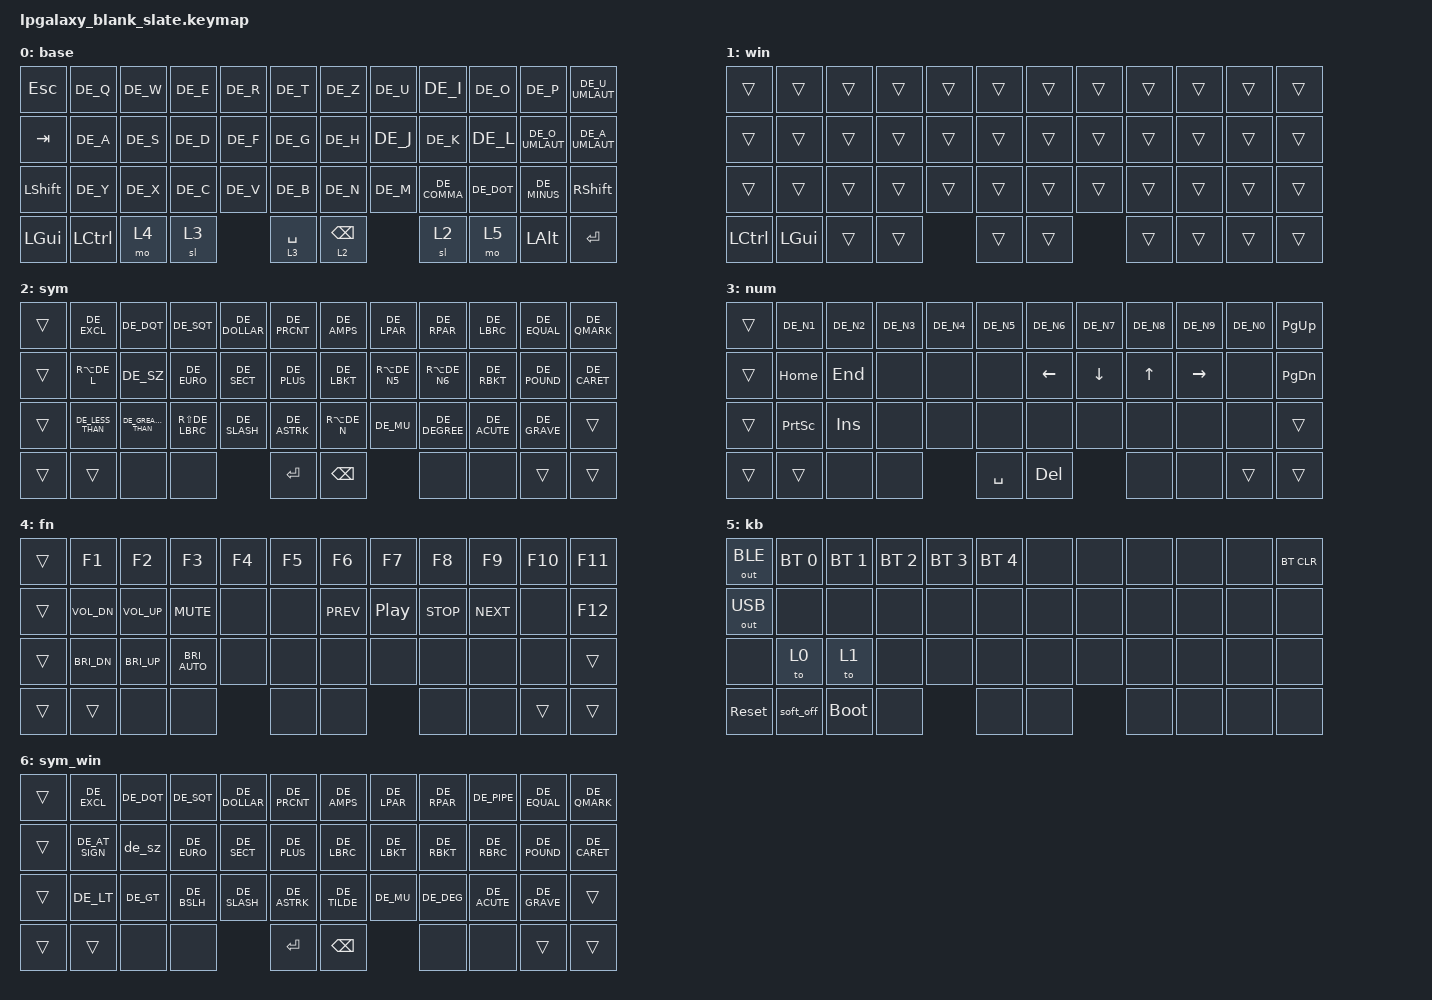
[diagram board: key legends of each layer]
#include "keys_de.h"
#include <behaviors.dtsi>
#include <dt-bindings/zmk/bt.h>
#include <dt-bindings/zmk/keys.h>
#include <dt-bindings/zmk/outputs.h>

/ {
    chosen { zmk,matrix_transform = &dual_2u_transform; };

    behaviors {
        de_sz: de_sz {
            compatible = "zmk,behavior-mod-morph";
            label = "DE_SZ";
            bindings = <&kp DE_SZ>, <&kp DE_CAPITAL_SZ>;

            #binding-cells = <0>;
            mods = <(MOD_LSFT|MOD_RSFT)>;
        };

        mlt: m_layer_tap {
            compatible = "zmk,behavior-hold-tap";
            label = "M_LAYER_TAP";
            bindings = <&mo>, <&kp>;

            #binding-cells = <2>;
            tapping-term-ms = <200>;
            quick-tap-ms = <200>;
            flavor = "balanced";
            retro-tap;
            require-prior-idle-ms = <75>;
        };
    };

    combos {
        compatible = "zmk,combos";

        caps_lock {
            bindings = <&kp CAPSLOCK>;
            key-positions = <24 35>;
        };

        quick_enter {
            bindings = <&kp ENTER>;
            key-positions = <41 40>;
        };
    };

    keymap {
        compatible = "zmk,keymap";

        layer_base {
            label = "base";
            bindings = <
&kp ESC    &kp DE_Q   &kp DE_W  &kp DE_E  &kp DE_R  &kp DE_T      &kp DE_Z          &kp DE_U  &kp DE_I      &kp DE_O    &kp DE_P         &kp DE_U_UMLAUT
&kp TAB    &kp DE_A   &kp DE_S  &kp DE_D  &kp DE_F  &kp DE_G      &kp DE_H          &kp DE_J  &kp DE_K      &kp DE_L    &kp DE_O_UMLAUT  &kp DE_A_UMLAUT
&kp LSHFT  &kp DE_Y   &kp DE_X  &kp DE_C  &kp DE_V  &kp DE_B      &kp DE_N          &kp DE_M  &kp DE_COMMA  &kp DE_DOT  &kp DE_MINUS     &kp RSHIFT
&kp LGUI   &kp LCTRL  &mo 4     &sl 3               &mlt 3 SPACE  &mlt 2 BACKSPACE            &sl 2         &mo 5       &kp LALT         &kp ENTER
            >;
        };

        layer_win {
            bindings = <
&trans            &trans        &trans  &trans  &trans  &trans  &trans  &trans  &trans  &trans  &trans  &trans
&trans            &trans        &trans  &trans  &trans  &trans  &trans  &trans  &trans  &trans  &trans  &trans
&trans            &trans        &trans  &trans  &trans  &trans  &trans  &trans  &trans  &trans  &trans  &trans
&kp LEFT_CONTROL  &kp LEFT_GUI  &trans  &trans          &trans  &trans          &trans  &trans  &trans  &trans
            >;

            label = "win";
        };

        layer_sym {
            label = "sym";
            bindings = <
&trans  &kp DE_EXCL       &kp DE_DQT           &kp DE_SQT       &kp DE_DOLLAR  &kp DE_PRCNT  &kp DE_AMPS    &kp DE_LPAR    &kp DE_RPAR    &kp DE_LBRC   &kp DE_EQUAL  &kp DE_QMARK
&trans  &kp RA(DE_L)      &kp DE_SZ            &kp DE_EURO      &kp DE_SECT    &kp DE_PLUS   &kp DE_LBKT    &kp RA(DE_N5)  &kp RA(DE_N6)  &kp DE_RBKT   &kp DE_POUND  &kp DE_CARET
&trans  &kp DE_LESS_THAN  &kp DE_GREATER_THAN  &kp RS(DE_LBRC)  &kp DE_SLASH   &kp DE_ASTRK  &kp RA(DE_N)   &kp DE_MU      &kp DE_DEGREE  &kp DE_ACUTE  &kp DE_GRAVE  &trans
&trans  &trans            &none                &none                           &kp ENTER     &kp BACKSPACE                 &none          &none         &trans        &trans
            >;
        };

        layer_num {
            label = "num";
            bindings = <
&trans  &kp DE_N1        &kp DE_N2   &kp DE_N3  &kp DE_N4  &kp DE_N5  &kp DE_N6   &kp DE_N7  &kp DE_N8  &kp DE_N9  &kp DE_N0  &kp PAGE_UP
&trans  &kp HOME         &kp END     &none      &none      &none      &kp LEFT    &kp DOWN   &kp UP     &kp RIGHT  &none      &kp PAGE_DOWN
&trans  &kp PRINTSCREEN  &kp INSERT  &none      &none      &none      &none       &none      &none      &none      &none      &trans
&trans  &trans           &none       &none                 &kp SPACE  &kp DELETE             &none      &none      &trans     &trans
            >;
        };

        layer_fn {
            label = "fn";
            bindings = <
&trans  &kp F1        &kp F2        &kp F3                 &kp F4  &kp F5  &kp F6      &kp F7            &kp F8      &kp F9      &kp F10  &kp F11
&trans  &kp C_VOL_DN  &kp C_VOL_UP  &kp C_MUTE             &none   &none   &kp C_PREV  &kp C_PLAY_PAUSE  &kp C_STOP  &kp C_NEXT  &none    &kp F12
&trans  &kp C_BRI_DN  &kp C_BRI_UP  &kp C_BRIGHTNESS_AUTO  &none   &none   &none       &none             &none       &none       &none    &trans
&trans  &trans        &none         &none                          &none   &none                         &none       &none       &trans   &trans
            >;
        };

        layer_kb {
            label = "kb";
            bindings = <
&out OUT_BLE  &bt BT_SEL 0  &bt BT_SEL 1  &bt BT_SEL 2  &bt BT_SEL 3  &bt BT_SEL 4  &none  &none  &none  &none  &none  &bt BT_CLR
&out OUT_USB  &none         &none         &none         &none         &none         &none  &none  &none  &none  &none  &none
&none         &to 0         &to 1         &none         &none         &none         &none  &none  &none  &none  &none  &none
&sys_reset    &soft_off     &bootloader   &none                       &none         &none         &none  &none  &none  &none
            >;
        };

        layer_sym_win {
            label = "sym_win";
            bindings = <
&trans  &kp DE_EXCL     &kp DE_DQT  &kp DE_SQT   &kp DE_DOLLAR  &kp DE_PRCNT  &kp DE_AMPS    &kp DE_LPAR  &kp DE_RPAR  &kp DE_PIPE   &kp DE_EQUAL  &kp DE_QMARK
&trans  &kp DE_AT_SIGN  &de_sz      &kp DE_EURO  &kp DE_SECT    &kp DE_PLUS   &kp DE_LBRC    &kp DE_LBKT  &kp DE_RBKT  &kp DE_RBRC   &kp DE_POUND  &kp DE_CARET
&trans  &kp DE_LT       &kp DE_GT   &kp DE_BSLH  &kp DE_SLASH   &kp DE_ASTRK  &kp DE_TILDE   &kp DE_MU    &kp DE_DEG   &kp DE_ACUTE  &kp DE_GRAVE  &trans
&trans  &trans          &none       &none                       &kp ENTER     &kp BACKSPACE               &none        &none         &trans        &trans
            >;
        };
    };

    conditional_layers {
        compatible = "zmk,conditional-layers";

        win_sym {
            if-layers = <1 2>;
            then-layer = <6>;
        };
    };
};
